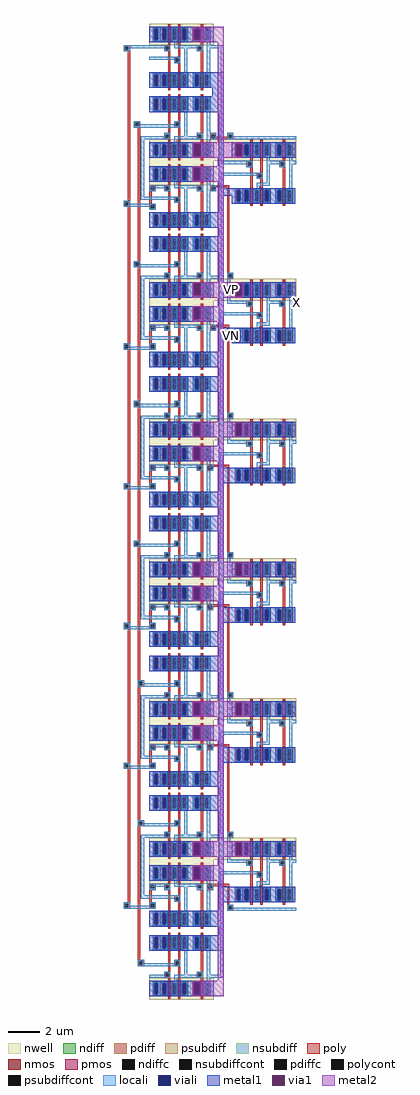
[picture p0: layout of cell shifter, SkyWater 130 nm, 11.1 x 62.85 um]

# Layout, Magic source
magic
tech sky130A
<< nwell >>
rect 495 310 505 330
rect 485 210 505 310
rect 495 190 505 210
rect 505 -440 1000 -415
rect 90 -555 1000 -440
rect 90 -575 505 -555
rect 485 -1420 1035 -1315
rect 370 -1430 1035 -1420
rect 90 -1455 1035 -1430
rect 90 -1475 505 -1455
rect 495 -2345 740 -2215
rect 90 -2355 740 -2345
rect 90 -2380 505 -2355
rect 500 -3235 735 -3115
rect 90 -3255 735 -3235
rect 90 -3290 505 -3255
rect 500 -4140 720 -4015
rect 90 -4155 720 -4140
rect 90 -4185 505 -4155
rect 495 -5045 735 -4915
rect 90 -5055 735 -5045
rect 90 -5090 505 -5055
<< nmos >>
rect 740 -1730 755 -1630
rect 805 -1730 820 -1630
rect 950 -1730 965 -1630
<< pmos >>
rect 740 -1435 755 -1335
rect 805 -1435 820 -1335
rect 950 -1435 965 -1335
<< ndiff >>
rect 690 -1645 740 -1630
rect 690 -1715 705 -1645
rect 725 -1715 740 -1645
rect 690 -1730 740 -1715
rect 755 -1645 805 -1630
rect 755 -1715 770 -1645
rect 790 -1715 805 -1645
rect 755 -1730 805 -1715
rect 820 -1645 870 -1630
rect 820 -1715 835 -1645
rect 855 -1715 870 -1645
rect 820 -1730 870 -1715
rect 900 -1645 950 -1630
rect 900 -1715 915 -1645
rect 935 -1715 950 -1645
rect 900 -1730 950 -1715
rect 965 -1645 1015 -1630
rect 965 -1715 980 -1645
rect 1000 -1715 1015 -1645
rect 965 -1730 1015 -1715
<< pdiff >>
rect 690 -1350 740 -1335
rect 690 -1420 705 -1350
rect 725 -1420 740 -1350
rect 690 -1435 740 -1420
rect 755 -1350 805 -1335
rect 755 -1420 770 -1350
rect 790 -1420 805 -1350
rect 755 -1435 805 -1420
rect 820 -1350 870 -1335
rect 820 -1420 835 -1350
rect 855 -1420 870 -1350
rect 820 -1435 870 -1420
rect 900 -1350 950 -1335
rect 900 -1420 915 -1350
rect 935 -1420 950 -1350
rect 900 -1435 950 -1420
rect 965 -1350 1015 -1335
rect 965 -1420 980 -1350
rect 1000 -1420 1015 -1350
rect 965 -1435 1015 -1420
<< ndiffc >>
rect 705 -1715 725 -1645
rect 770 -1715 790 -1645
rect 835 -1715 855 -1645
rect 915 -1715 935 -1645
rect 980 -1715 1000 -1645
<< pdiffc >>
rect 705 -1420 725 -1350
rect 770 -1420 790 -1350
rect 835 -1420 855 -1350
rect 915 -1420 935 -1350
rect 980 -1420 1000 -1350
<< psubdiff >>
rect 640 -1645 690 -1630
rect 640 -1715 655 -1645
rect 675 -1715 690 -1645
rect 640 -1730 690 -1715
<< nsubdiff >>
rect 640 -1350 690 -1335
rect 640 -1420 655 -1350
rect 675 -1420 690 -1350
rect 640 -1435 690 -1420
<< psubdiffcont >>
rect 655 -1715 675 -1645
<< nsubdiffcont >>
rect 655 -1420 675 -1350
<< poly >>
rect -75 180 -35 190
rect -75 160 -65 180
rect -45 160 -35 180
rect -75 150 -35 160
rect -50 -810 -35 150
rect -10 -310 30 -300
rect -10 -330 0 -310
rect 20 -330 30 -310
rect -10 -340 30 -330
rect -75 -820 -35 -810
rect -75 -840 -65 -820
rect -45 -840 -35 -820
rect -75 -850 -35 -840
rect -50 -1730 -35 -850
rect 15 -1200 30 -340
rect 480 -385 520 -375
rect 480 -405 490 -385
rect 510 -400 520 -385
rect 590 -385 630 -375
rect 590 -400 600 -385
rect 510 -405 600 -400
rect 620 -405 630 -385
rect 480 -415 630 -405
rect 90 -720 130 -710
rect 90 -740 100 -720
rect 120 -740 130 -720
rect 90 -750 130 -740
rect 480 -720 605 -710
rect 480 -740 490 -720
rect 510 -725 605 -720
rect 510 -740 520 -725
rect 480 -750 520 -740
rect 90 -830 105 -750
rect 90 -840 130 -830
rect 90 -860 100 -840
rect 120 -860 130 -840
rect 90 -870 130 -860
rect -10 -1210 30 -1200
rect -10 -1230 0 -1210
rect 20 -1230 30 -1210
rect -10 -1240 30 -1230
rect -75 -1740 -35 -1730
rect -75 -1760 -65 -1740
rect -45 -1760 -35 -1740
rect -75 -1770 -35 -1760
rect -50 -2630 -35 -1770
rect 15 -2100 30 -1240
rect 590 -1275 605 -725
rect 590 -1285 630 -1275
rect 590 -1305 600 -1285
rect 620 -1305 630 -1285
rect 590 -1315 630 -1305
rect 740 -1335 755 -1320
rect 805 -1335 820 -1320
rect 950 -1335 965 -1320
rect 740 -1455 755 -1435
rect 715 -1465 755 -1455
rect 715 -1485 725 -1465
rect 745 -1485 755 -1465
rect 715 -1495 755 -1485
rect 90 -1620 130 -1610
rect 90 -1640 100 -1620
rect 120 -1640 130 -1620
rect 90 -1650 130 -1640
rect 480 -1620 605 -1610
rect 480 -1640 490 -1620
rect 510 -1625 605 -1620
rect 510 -1640 520 -1625
rect 480 -1650 520 -1640
rect 90 -1730 105 -1650
rect 90 -1740 130 -1730
rect 90 -1760 100 -1740
rect 120 -1760 130 -1740
rect 90 -1770 130 -1760
rect -10 -2110 30 -2100
rect -10 -2130 0 -2110
rect 20 -2130 30 -2110
rect -10 -2140 30 -2130
rect -75 -2640 -35 -2630
rect -75 -2660 -65 -2640
rect -45 -2660 -35 -2640
rect -75 -2670 -35 -2660
rect -50 -3530 -35 -2670
rect 15 -3000 30 -2140
rect 590 -2175 605 -1625
rect 740 -1630 755 -1495
rect 805 -1530 820 -1435
rect 950 -1455 965 -1435
rect 925 -1465 965 -1455
rect 925 -1485 935 -1465
rect 955 -1485 965 -1465
rect 925 -1495 965 -1485
rect 780 -1540 820 -1530
rect 780 -1560 790 -1540
rect 810 -1560 820 -1540
rect 780 -1570 820 -1560
rect 805 -1630 820 -1570
rect 950 -1630 965 -1495
rect 740 -1745 755 -1730
rect 805 -1745 820 -1730
rect 950 -1745 965 -1730
rect 590 -2185 630 -2175
rect 590 -2205 600 -2185
rect 620 -2205 630 -2185
rect 590 -2215 630 -2205
rect 90 -2520 130 -2510
rect 90 -2540 100 -2520
rect 120 -2540 130 -2520
rect 90 -2550 130 -2540
rect 460 -2520 605 -2510
rect 460 -2540 470 -2520
rect 490 -2525 605 -2520
rect 490 -2540 500 -2525
rect 460 -2550 500 -2540
rect 90 -2630 105 -2550
rect 90 -2640 130 -2630
rect 90 -2660 100 -2640
rect 120 -2660 130 -2640
rect 90 -2670 130 -2660
rect -10 -3010 30 -3000
rect -10 -3030 0 -3010
rect 20 -3030 30 -3010
rect -10 -3040 30 -3030
rect -75 -3540 -35 -3530
rect -75 -3560 -65 -3540
rect -45 -3560 -35 -3540
rect -75 -3570 -35 -3560
rect -50 -4430 -35 -3570
rect -75 -4440 -35 -4430
rect -75 -4460 -65 -4440
rect -45 -4460 -35 -4440
rect -75 -4470 -35 -4460
rect -50 -5330 -35 -4470
rect -75 -5340 -35 -5330
rect -75 -5360 -65 -5340
rect -45 -5360 -35 -5340
rect -75 -5370 -35 -5360
rect 15 -3900 30 -3040
rect 590 -3075 605 -2525
rect 590 -3085 630 -3075
rect 590 -3105 600 -3085
rect 620 -3105 630 -3085
rect 590 -3115 630 -3105
rect 90 -3420 130 -3410
rect 90 -3440 100 -3420
rect 120 -3440 130 -3420
rect 90 -3450 130 -3440
rect 460 -3420 605 -3410
rect 460 -3440 470 -3420
rect 490 -3425 605 -3420
rect 490 -3440 500 -3425
rect 460 -3450 500 -3440
rect 90 -3530 105 -3450
rect 90 -3540 130 -3530
rect 90 -3560 100 -3540
rect 120 -3560 130 -3540
rect 90 -3570 130 -3560
rect 15 -3910 55 -3900
rect 15 -3930 25 -3910
rect 45 -3930 55 -3910
rect 15 -3940 55 -3930
rect 15 -4800 30 -3940
rect 590 -3975 605 -3425
rect 590 -3985 630 -3975
rect 590 -4005 600 -3985
rect 620 -4005 630 -3985
rect 590 -4015 630 -4005
rect 90 -4320 130 -4310
rect 90 -4340 100 -4320
rect 120 -4340 130 -4320
rect 90 -4350 130 -4340
rect 460 -4320 605 -4310
rect 460 -4340 470 -4320
rect 490 -4325 605 -4320
rect 490 -4340 500 -4325
rect 460 -4350 500 -4340
rect 90 -4430 105 -4350
rect 90 -4440 130 -4430
rect 90 -4460 100 -4440
rect 120 -4460 130 -4440
rect 90 -4470 130 -4460
rect 15 -4810 55 -4800
rect 15 -4830 25 -4810
rect 45 -4830 55 -4810
rect 15 -4840 55 -4830
rect 15 -5700 30 -4840
rect 590 -4875 605 -4325
rect 590 -4885 630 -4875
rect 590 -4905 600 -4885
rect 620 -4905 630 -4885
rect 590 -4915 630 -4905
rect 90 -5220 130 -5210
rect 90 -5240 100 -5220
rect 120 -5240 130 -5220
rect 90 -5250 130 -5240
rect 460 -5220 605 -5210
rect 460 -5240 470 -5220
rect 490 -5225 605 -5220
rect 490 -5240 500 -5225
rect 460 -5250 500 -5240
rect 90 -5330 105 -5250
rect 90 -5340 130 -5330
rect 90 -5360 100 -5340
rect 120 -5360 130 -5340
rect 90 -5370 130 -5360
rect 590 -5345 605 -5225
rect 590 -5355 630 -5345
rect 590 -5375 600 -5355
rect 620 -5375 630 -5355
rect 590 -5385 630 -5375
rect 15 -5710 55 -5700
rect 15 -5730 25 -5710
rect 45 -5730 55 -5710
rect 15 -5740 55 -5730
<< polycont >>
rect -65 160 -45 180
rect 0 -330 20 -310
rect -65 -840 -45 -820
rect 490 -405 510 -385
rect 600 -405 620 -385
rect 100 -740 120 -720
rect 490 -740 510 -720
rect 100 -860 120 -840
rect 0 -1230 20 -1210
rect -65 -1760 -45 -1740
rect 600 -1305 620 -1285
rect 725 -1485 745 -1465
rect 100 -1640 120 -1620
rect 490 -1640 510 -1620
rect 100 -1760 120 -1740
rect 0 -2130 20 -2110
rect -65 -2660 -45 -2640
rect 935 -1485 955 -1465
rect 790 -1560 810 -1540
rect 600 -2205 620 -2185
rect 100 -2540 120 -2520
rect 470 -2540 490 -2520
rect 100 -2660 120 -2640
rect 0 -3030 20 -3010
rect -65 -3560 -45 -3540
rect -65 -4460 -45 -4440
rect -65 -5360 -45 -5340
rect 600 -3105 620 -3085
rect 100 -3440 120 -3420
rect 470 -3440 490 -3420
rect 100 -3560 120 -3540
rect 25 -3930 45 -3910
rect 600 -4005 620 -3985
rect 100 -4340 120 -4320
rect 470 -4340 490 -4320
rect 100 -4460 120 -4440
rect 25 -4830 45 -4810
rect 600 -4905 620 -4885
rect 100 -5240 120 -5220
rect 470 -5240 490 -5220
rect 100 -5360 120 -5340
rect 600 -5375 620 -5355
rect 25 -5730 45 -5710
<< locali >>
rect -75 180 100 190
rect -75 160 -65 180
rect -45 170 100 180
rect 495 170 570 190
rect -45 160 -35 170
rect -75 150 -35 160
rect -10 -310 30 -300
rect -10 -330 0 -310
rect 20 -320 30 -310
rect 20 -330 110 -320
rect -10 -340 110 -330
rect 480 -385 520 -375
rect 35 -415 125 -395
rect 480 -405 490 -385
rect 510 -405 520 -385
rect 480 -415 520 -405
rect 35 -785 55 -415
rect 550 -555 570 170
rect 590 -385 630 -375
rect 590 -405 600 -385
rect 620 -395 630 -385
rect 620 -405 1035 -395
rect 590 -415 1035 -405
rect 550 -575 640 -555
rect 550 -650 625 -630
rect 630 -645 645 -630
rect 90 -720 130 -710
rect 90 -740 100 -720
rect 120 -740 130 -720
rect 90 -750 130 -740
rect 460 -720 520 -710
rect 460 -740 490 -720
rect 510 -740 520 -720
rect 460 -750 520 -740
rect 35 -805 125 -785
rect -75 -820 -35 -810
rect -75 -840 -65 -820
rect -45 -830 -35 -820
rect -45 -840 130 -830
rect -75 -850 100 -840
rect 90 -860 100 -850
rect 120 -860 130 -840
rect 90 -870 130 -860
rect -10 -1210 30 -1200
rect -10 -1230 0 -1210
rect 20 -1220 30 -1210
rect 20 -1230 115 -1220
rect -10 -1240 115 -1230
rect 550 -1295 570 -650
rect 35 -1315 110 -1295
rect 505 -1315 570 -1295
rect 590 -1285 630 -1275
rect 590 -1305 600 -1285
rect 620 -1305 630 -1285
rect 590 -1315 630 -1305
rect 35 -1685 55 -1315
rect 590 -1455 610 -1315
rect 645 -1350 735 -1340
rect 645 -1420 655 -1350
rect 675 -1420 705 -1350
rect 725 -1420 735 -1350
rect 645 -1430 735 -1420
rect 760 -1350 800 -1340
rect 760 -1420 770 -1350
rect 790 -1420 800 -1350
rect 760 -1430 800 -1420
rect 825 -1350 865 -1340
rect 825 -1420 835 -1350
rect 855 -1420 865 -1350
rect 825 -1430 865 -1420
rect 905 -1350 945 -1340
rect 905 -1420 915 -1350
rect 935 -1420 945 -1350
rect 905 -1430 945 -1420
rect 970 -1350 1010 -1340
rect 970 -1420 980 -1350
rect 1000 -1420 1010 -1350
rect 970 -1430 1010 -1420
rect 845 -1455 865 -1430
rect 990 -1455 1010 -1430
rect 590 -1465 755 -1455
rect 590 -1475 725 -1465
rect 715 -1485 725 -1475
rect 745 -1485 755 -1465
rect 715 -1495 755 -1485
rect 845 -1465 965 -1455
rect 845 -1475 935 -1465
rect 545 -1540 820 -1530
rect 545 -1550 790 -1540
rect 90 -1620 130 -1610
rect 90 -1640 100 -1620
rect 120 -1640 130 -1620
rect 90 -1650 130 -1640
rect 480 -1620 520 -1610
rect 480 -1640 490 -1620
rect 510 -1640 520 -1620
rect 480 -1650 520 -1640
rect 35 -1705 100 -1685
rect -75 -1740 -35 -1730
rect -75 -1760 -65 -1740
rect -45 -1750 -35 -1740
rect 90 -1740 130 -1730
rect 90 -1750 100 -1740
rect -45 -1760 100 -1750
rect 120 -1760 130 -1740
rect -75 -1770 130 -1760
rect -10 -2110 30 -2100
rect -10 -2130 0 -2110
rect 20 -2120 30 -2110
rect 20 -2130 160 -2120
rect -10 -2140 160 -2130
rect 545 -2195 565 -1550
rect 780 -1560 790 -1550
rect 810 -1560 820 -1540
rect 780 -1570 820 -1560
rect 845 -1595 865 -1475
rect 925 -1485 935 -1475
rect 955 -1485 965 -1465
rect 925 -1495 965 -1485
rect 990 -1475 1035 -1455
rect 780 -1615 865 -1595
rect 780 -1635 800 -1615
rect 925 -1635 945 -1630
rect 990 -1635 1010 -1475
rect 645 -1645 735 -1635
rect 645 -1715 655 -1645
rect 675 -1715 705 -1645
rect 725 -1715 735 -1645
rect 645 -1725 735 -1715
rect 760 -1645 800 -1635
rect 760 -1715 770 -1645
rect 790 -1715 800 -1645
rect 760 -1725 800 -1715
rect 825 -1645 865 -1635
rect 825 -1715 835 -1645
rect 855 -1715 865 -1645
rect 825 -1725 865 -1715
rect 905 -1645 945 -1635
rect 905 -1715 915 -1645
rect 935 -1715 945 -1645
rect 905 -1725 945 -1715
rect 970 -1645 1010 -1635
rect 970 -1715 980 -1645
rect 1000 -1715 1010 -1645
rect 970 -1725 1010 -1715
rect 35 -2215 120 -2195
rect 505 -2215 565 -2195
rect 590 -2185 630 -2175
rect 590 -2205 600 -2185
rect 620 -2205 630 -2185
rect 590 -2215 630 -2205
rect 35 -2585 55 -2215
rect 590 -2355 610 -2215
rect 590 -2375 635 -2355
rect 545 -2450 645 -2430
rect 90 -2520 130 -2510
rect 90 -2540 100 -2520
rect 120 -2540 130 -2520
rect 90 -2550 130 -2540
rect 460 -2520 500 -2510
rect 460 -2540 470 -2520
rect 490 -2540 500 -2520
rect 460 -2550 500 -2540
rect 35 -2605 120 -2585
rect -75 -2640 -35 -2630
rect -75 -2660 -65 -2640
rect -45 -2650 -35 -2640
rect 90 -2640 130 -2630
rect 90 -2650 100 -2640
rect -45 -2660 100 -2650
rect 120 -2660 130 -2640
rect -75 -2670 130 -2660
rect -10 -3010 30 -3000
rect -10 -3030 0 -3010
rect 20 -3020 30 -3010
rect 20 -3030 180 -3020
rect -10 -3040 180 -3030
rect 545 -3095 565 -2450
rect 35 -3115 115 -3095
rect 505 -3115 565 -3095
rect 590 -3085 630 -3075
rect 590 -3105 600 -3085
rect 620 -3105 630 -3085
rect 590 -3115 630 -3105
rect 35 -3485 55 -3115
rect 590 -3255 610 -3115
rect 590 -3275 630 -3255
rect 545 -3350 625 -3330
rect 90 -3420 130 -3410
rect 90 -3440 100 -3420
rect 120 -3440 130 -3420
rect 90 -3450 130 -3440
rect 460 -3420 500 -3410
rect 460 -3440 470 -3420
rect 490 -3440 500 -3420
rect 460 -3450 500 -3440
rect 35 -3505 110 -3485
rect -75 -3540 -35 -3530
rect -75 -3560 -65 -3540
rect -45 -3550 -35 -3540
rect 90 -3540 130 -3530
rect 90 -3550 100 -3540
rect -45 -3560 100 -3550
rect 120 -3560 130 -3540
rect -75 -3570 130 -3560
rect 15 -3910 55 -3900
rect 15 -3930 25 -3910
rect 45 -3920 55 -3910
rect 45 -3930 170 -3920
rect 15 -3940 170 -3930
rect 545 -3995 565 -3350
rect 35 -4015 120 -3995
rect 500 -4015 565 -3995
rect 590 -3985 630 -3975
rect 590 -4005 600 -3985
rect 620 -4005 630 -3985
rect 590 -4015 630 -4005
rect 35 -4385 55 -4015
rect 590 -4155 610 -4015
rect 590 -4175 630 -4155
rect 545 -4250 625 -4230
rect 90 -4320 130 -4310
rect 90 -4340 100 -4320
rect 120 -4340 130 -4320
rect 90 -4350 130 -4340
rect 460 -4320 500 -4310
rect 460 -4340 470 -4320
rect 490 -4340 500 -4320
rect 460 -4350 500 -4340
rect 35 -4405 115 -4385
rect -75 -4440 -35 -4430
rect -75 -4460 -65 -4440
rect -45 -4450 -35 -4440
rect 90 -4440 130 -4430
rect 90 -4450 100 -4440
rect -45 -4460 100 -4450
rect 120 -4460 130 -4440
rect -75 -4470 130 -4460
rect 15 -4810 55 -4800
rect 15 -4830 25 -4810
rect 45 -4820 55 -4810
rect 45 -4830 175 -4820
rect 15 -4840 175 -4830
rect 545 -4895 565 -4250
rect 35 -4915 115 -4895
rect 505 -4915 565 -4895
rect 590 -4885 630 -4875
rect 590 -4905 600 -4885
rect 620 -4905 630 -4885
rect 590 -4915 630 -4905
rect 35 -5285 55 -4915
rect 590 -5055 610 -4915
rect 590 -5075 635 -5055
rect 545 -5150 635 -5130
rect 90 -5220 130 -5210
rect 90 -5240 100 -5220
rect 120 -5240 130 -5220
rect 90 -5250 130 -5240
rect 460 -5220 500 -5210
rect 460 -5240 470 -5220
rect 490 -5240 500 -5220
rect 460 -5250 500 -5240
rect 35 -5305 110 -5285
rect -75 -5340 -35 -5330
rect -75 -5360 -65 -5340
rect -45 -5350 -35 -5340
rect 90 -5340 130 -5330
rect 90 -5350 100 -5340
rect -45 -5360 100 -5350
rect 120 -5360 130 -5340
rect -75 -5370 130 -5360
rect 15 -5710 55 -5700
rect 15 -5730 25 -5710
rect 45 -5720 55 -5710
rect 45 -5730 170 -5720
rect 15 -5740 170 -5730
rect 545 -5795 565 -5150
rect 590 -5355 630 -5345
rect 590 -5375 600 -5355
rect 620 -5365 630 -5355
rect 620 -5375 1035 -5365
rect 590 -5385 1035 -5375
rect 495 -5815 565 -5795
<< viali >>
rect 655 -1420 675 -1350
rect 705 -1420 725 -1350
rect 915 -1420 935 -1350
rect 655 -1715 675 -1645
rect 705 -1715 725 -1645
rect 835 -1715 855 -1645
rect 915 -1715 935 -1645
<< metal1 >>
rect 500 -65 570 15
rect 495 -235 570 -65
rect 505 -240 570 -235
rect 535 -730 570 -240
rect 535 -780 620 -730
rect 535 -885 570 -780
rect 500 -980 570 -885
rect 505 -985 570 -980
rect 535 -1040 570 -985
rect 500 -1130 570 -1040
rect 505 -1140 570 -1130
rect 535 -1630 570 -1140
rect 620 -1345 1030 -1335
rect 620 -1425 645 -1345
rect 685 -1350 1030 -1345
rect 685 -1420 705 -1350
rect 725 -1420 915 -1350
rect 935 -1420 1030 -1350
rect 685 -1425 1030 -1420
rect 620 -1435 1030 -1425
rect 535 -1645 1030 -1630
rect 535 -1680 655 -1645
rect 535 -1785 570 -1680
rect 620 -1715 655 -1680
rect 675 -1715 705 -1645
rect 725 -1715 835 -1645
rect 855 -1715 915 -1645
rect 935 -1715 1030 -1645
rect 620 -1730 1030 -1715
rect 505 -1885 570 -1785
rect 535 -1940 570 -1885
rect 495 -2040 570 -1940
rect 535 -2530 570 -2040
rect 535 -2630 635 -2530
rect 535 -2685 570 -2630
rect 495 -2785 570 -2685
rect 535 -2840 570 -2785
rect 490 -2940 570 -2840
rect 535 -3430 570 -2940
rect 535 -3530 635 -3430
rect 535 -3585 570 -3530
rect 495 -3685 570 -3585
rect 535 -3740 570 -3685
rect 495 -3840 570 -3740
rect 535 -4330 570 -3840
rect 535 -4430 635 -4330
rect 535 -4485 570 -4430
rect 490 -4585 570 -4485
rect 535 -4640 570 -4585
rect 495 -4740 570 -4640
rect 535 -5230 570 -4740
rect 535 -5330 635 -5230
rect 535 -5385 570 -5330
rect 495 -5485 570 -5385
rect 535 -5540 570 -5485
rect 490 -5640 570 -5540
<< via1 >>
rect 380 225 415 295
rect 375 -525 420 -445
rect 375 -680 415 -600
rect 645 -525 685 -445
rect 375 -1420 420 -1340
rect 375 -1575 415 -1495
rect 645 -1350 685 -1345
rect 645 -1420 655 -1350
rect 655 -1420 675 -1350
rect 675 -1420 685 -1350
rect 645 -1425 685 -1420
rect 375 -2325 415 -2245
rect 375 -2480 415 -2400
rect 645 -2325 685 -2245
rect 375 -3225 415 -3145
rect 375 -3380 415 -3300
rect 645 -3225 685 -3145
rect 375 -4125 415 -4045
rect 375 -4280 415 -4200
rect 645 -4125 685 -4045
rect 375 -5025 415 -4945
rect 375 -5180 415 -5100
rect 645 -5025 685 -4945
rect 375 -5925 415 -5845
<< metal2 >>
rect 370 295 570 310
rect 370 225 380 295
rect 415 225 570 295
rect 370 210 570 225
rect 530 -435 570 210
rect 370 -445 690 -435
rect 370 -525 375 -445
rect 420 -525 645 -445
rect 685 -525 690 -445
rect 370 -535 690 -525
rect 530 -590 570 -535
rect 370 -600 570 -590
rect 370 -680 375 -600
rect 415 -680 570 -600
rect 370 -690 570 -680
rect 530 -1335 570 -690
rect 370 -1340 690 -1335
rect 370 -1420 375 -1340
rect 420 -1345 690 -1340
rect 420 -1420 645 -1345
rect 370 -1425 645 -1420
rect 685 -1425 690 -1345
rect 370 -1435 690 -1425
rect 530 -1490 570 -1435
rect 370 -1495 570 -1490
rect 370 -1575 375 -1495
rect 415 -1575 570 -1495
rect 370 -1590 570 -1575
rect 530 -2235 570 -1590
rect 370 -2245 740 -2235
rect 370 -2325 375 -2245
rect 415 -2325 645 -2245
rect 685 -2325 740 -2245
rect 370 -2335 740 -2325
rect 530 -2390 570 -2335
rect 370 -2400 570 -2390
rect 370 -2480 375 -2400
rect 415 -2480 570 -2400
rect 370 -2490 570 -2480
rect 530 -3135 570 -2490
rect 370 -3145 740 -3135
rect 370 -3225 375 -3145
rect 415 -3225 645 -3145
rect 685 -3225 740 -3145
rect 370 -3235 740 -3225
rect 530 -3290 570 -3235
rect 370 -3300 570 -3290
rect 370 -3380 375 -3300
rect 415 -3380 570 -3300
rect 370 -3390 570 -3380
rect 530 -4035 570 -3390
rect 370 -4045 740 -4035
rect 370 -4125 375 -4045
rect 415 -4125 645 -4045
rect 685 -4125 740 -4045
rect 370 -4135 740 -4125
rect 530 -4190 570 -4135
rect 370 -4200 570 -4190
rect 370 -4280 375 -4200
rect 415 -4280 570 -4200
rect 370 -4290 570 -4280
rect 530 -4935 570 -4290
rect 370 -4945 740 -4935
rect 370 -5025 375 -4945
rect 415 -5025 645 -4945
rect 685 -5025 740 -4945
rect 370 -5035 740 -5025
rect 530 -5090 570 -5035
rect 370 -5100 570 -5090
rect 370 -5180 375 -5100
rect 415 -5180 570 -5100
rect 370 -5190 570 -5180
rect 530 -5835 570 -5190
rect 370 -5845 570 -5835
rect 370 -5925 375 -5845
rect 415 -5925 570 -5845
rect 370 -5935 570 -5925
use and  and_0
transform 1 0 210 0 1 215
box -120 -315 295 115
use and  and_1
transform 1 0 210 0 -1 -440
box -120 -315 295 115
use and  and_2
transform 1 0 210 0 1 -685
box -120 -315 295 115
use and  and_3
transform 1 0 210 0 -1 -1340
box -120 -315 295 115
use and  and_4
transform 1 0 210 0 1 -1585
box -120 -315 295 115
use and  and_5
transform 1 0 210 0 -1 -2240
box -120 -315 295 115
use and  and_6
transform 1 0 210 0 1 -2485
box -120 -315 295 115
use and  and_7
transform 1 0 210 0 -1 -3140
box -120 -315 295 115
use and  and_8
transform 1 0 210 0 1 -3385
box -120 -315 295 115
use and  and_9
transform 1 0 210 0 -1 -4040
box -120 -315 295 115
use and  and_10
transform 1 0 210 0 1 -4285
box -120 -315 295 115
use and  and_11
transform 1 0 210 0 -1 -4940
box -120 -315 295 115
use and  and_12
transform 1 0 210 0 1 -5185
box -120 -315 295 115
use and  and_13
transform 1 0 210 0 -1 -5840
box -120 -315 295 115
use or  or_0
transform 1 0 740 0 1 -530
box -120 -315 295 115
use or  or_1
transform 1 0 740 0 1 -2330
box -120 -315 295 115
use or  or_2
transform 1 0 740 0 1 -3230
box -120 -315 295 115
use or  or_3
transform 1 0 740 0 1 -4130
box -120 -315 295 115
use or  or_4
transform 1 0 740 0 1 -5030
box -120 -315 295 115
<< labels >>
rlabel metal1 620 -1680 620 -1680 7 VN
port 5 w
rlabel metal1 620 -1385 620 -1385 7 VP
port 4 w
rlabel locali 1035 -1465 1035 -1465 3 X
port 3 e
<< end >>

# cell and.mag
magic
tech sky130A
<< nwell >>
rect -120 -25 295 115
<< nmos >>
rect 0 -300 15 -200
rect 65 -300 80 -200
rect 210 -300 225 -200
<< pmos >>
rect 0 -5 15 95
rect 65 -5 80 95
rect 210 -5 225 95
<< ndiff >>
rect -50 -215 0 -200
rect -50 -285 -35 -215
rect -15 -285 0 -215
rect -50 -300 0 -285
rect 15 -215 65 -200
rect 15 -285 30 -215
rect 50 -285 65 -215
rect 15 -300 65 -285
rect 80 -215 130 -200
rect 80 -285 95 -215
rect 115 -285 130 -215
rect 80 -300 130 -285
rect 160 -215 210 -200
rect 160 -285 175 -215
rect 195 -285 210 -215
rect 160 -300 210 -285
rect 225 -215 275 -200
rect 225 -285 240 -215
rect 260 -285 275 -215
rect 225 -300 275 -285
<< pdiff >>
rect -50 80 0 95
rect -50 10 -35 80
rect -15 10 0 80
rect -50 -5 0 10
rect 15 80 65 95
rect 15 10 30 80
rect 50 10 65 80
rect 15 -5 65 10
rect 80 80 130 95
rect 80 10 95 80
rect 115 10 130 80
rect 80 -5 130 10
rect 160 80 210 95
rect 160 10 175 80
rect 195 10 210 80
rect 160 -5 210 10
rect 225 80 275 95
rect 225 10 240 80
rect 260 10 275 80
rect 225 -5 275 10
<< ndiffc >>
rect -35 -285 -15 -215
rect 30 -285 50 -215
rect 95 -285 115 -215
rect 175 -285 195 -215
rect 240 -285 260 -215
<< pdiffc >>
rect -35 10 -15 80
rect 30 10 50 80
rect 95 10 115 80
rect 175 10 195 80
rect 240 10 260 80
<< psubdiff >>
rect -100 -215 -50 -200
rect -100 -285 -85 -215
rect -65 -285 -50 -215
rect -100 -300 -50 -285
<< nsubdiff >>
rect -100 80 -50 95
rect -100 10 -85 80
rect -65 10 -50 80
rect -100 -5 -50 10
<< psubdiffcont >>
rect -85 -285 -65 -215
<< nsubdiffcont >>
rect -85 10 -65 80
<< poly >>
rect 0 95 15 110
rect 65 95 80 110
rect 210 95 225 110
rect 0 -25 15 -5
rect -25 -35 15 -25
rect -25 -55 -15 -35
rect 5 -55 15 -35
rect -25 -65 15 -55
rect 0 -200 15 -65
rect 65 -100 80 -5
rect 210 -25 225 -5
rect 185 -35 225 -25
rect 185 -55 195 -35
rect 215 -55 225 -35
rect 185 -65 225 -55
rect 40 -110 80 -100
rect 40 -130 50 -110
rect 70 -130 80 -110
rect 40 -140 80 -130
rect 65 -200 80 -140
rect 210 -200 225 -65
rect 0 -315 15 -300
rect 65 -315 80 -300
rect 210 -315 225 -300
<< polycont >>
rect -15 -55 5 -35
rect 195 -55 215 -35
rect 50 -130 70 -110
<< locali >>
rect -95 80 -5 90
rect -95 10 -85 80
rect -65 10 -35 80
rect -15 10 -5 80
rect -95 0 -5 10
rect 20 80 60 90
rect 20 10 30 80
rect 50 10 60 80
rect 20 0 60 10
rect 85 80 125 90
rect 85 10 95 80
rect 115 10 125 80
rect 85 0 125 10
rect 160 80 205 90
rect 160 10 175 80
rect 195 10 205 80
rect 160 0 205 10
rect 230 80 270 90
rect 230 10 240 80
rect 260 10 270 80
rect 230 0 270 10
rect 40 -25 60 0
rect 250 -25 270 0
rect -120 -35 15 -25
rect -120 -45 -15 -35
rect -25 -55 -15 -45
rect 5 -55 15 -35
rect 40 -35 225 -25
rect 40 -45 195 -35
rect -25 -65 15 -55
rect -120 -110 80 -100
rect -120 -120 50 -110
rect 40 -130 50 -120
rect 70 -130 80 -110
rect 40 -140 80 -130
rect 105 -205 125 -45
rect 185 -55 195 -45
rect 215 -55 225 -35
rect 185 -65 225 -55
rect 250 -45 295 -25
rect 250 -205 270 -45
rect -95 -215 -5 -205
rect -95 -285 -85 -215
rect -65 -285 -35 -215
rect -15 -285 -5 -215
rect -95 -295 -5 -285
rect 20 -215 60 -205
rect 20 -285 30 -215
rect 50 -285 60 -215
rect 20 -295 60 -285
rect 85 -215 125 -205
rect 85 -285 95 -215
rect 115 -285 125 -215
rect 85 -295 125 -285
rect 160 -215 205 -205
rect 160 -285 175 -215
rect 195 -285 205 -215
rect 160 -295 205 -285
rect 230 -215 270 -205
rect 230 -285 240 -215
rect 260 -285 270 -215
rect 230 -295 270 -285
<< viali >>
rect -85 10 -65 80
rect -35 10 -15 80
rect 95 10 115 80
rect 175 10 195 80
rect -85 -285 -65 -215
rect -35 -285 -15 -215
rect 175 -285 195 -215
<< metal1 >>
rect -120 80 295 95
rect -120 10 -85 80
rect -65 10 -35 80
rect -15 10 95 80
rect 115 10 175 80
rect 195 10 295 80
rect -120 -5 295 10
rect -120 -215 295 -200
rect -120 -285 -85 -215
rect -65 -285 -35 -215
rect -15 -285 175 -215
rect 195 -285 295 -215
rect -120 -300 295 -285
<< labels >>
rlabel locali -120 -35 -120 -35 7 A
port 1 w
rlabel locali -120 -110 -120 -110 7 B
port 2 w
rlabel metal1 -120 -250 -120 -250 7 VN
port 5 w
rlabel metal1 -120 45 -120 45 7 VP
port 4 w
rlabel locali 295 -35 295 -35 3 X
port 3 e
<< end >>

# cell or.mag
magic
tech sky130A
<< nwell >>
rect -120 -25 295 115
<< nmos >>
rect 0 -300 15 -200
rect 65 -300 80 -200
rect 210 -300 225 -200
<< pmos >>
rect 0 -5 15 95
rect 65 -5 80 95
rect 210 -5 225 95
<< ndiff >>
rect -50 -215 0 -200
rect -50 -285 -35 -215
rect -15 -285 0 -215
rect -50 -300 0 -285
rect 15 -215 65 -200
rect 15 -285 30 -215
rect 50 -285 65 -215
rect 15 -300 65 -285
rect 80 -215 130 -200
rect 80 -285 95 -215
rect 115 -285 130 -215
rect 80 -300 130 -285
rect 160 -215 210 -200
rect 160 -285 175 -215
rect 195 -285 210 -215
rect 160 -300 210 -285
rect 225 -215 275 -200
rect 225 -285 240 -215
rect 260 -285 275 -215
rect 225 -300 275 -285
<< pdiff >>
rect -50 80 0 95
rect -50 10 -35 80
rect -15 10 0 80
rect -50 -5 0 10
rect 15 80 65 95
rect 15 10 30 80
rect 50 10 65 80
rect 15 -5 65 10
rect 80 80 130 95
rect 80 10 95 80
rect 115 10 130 80
rect 80 -5 130 10
rect 160 80 210 95
rect 160 10 175 80
rect 195 10 210 80
rect 160 -5 210 10
rect 225 80 275 95
rect 225 10 240 80
rect 260 10 275 80
rect 225 -5 275 10
<< ndiffc >>
rect -35 -285 -15 -215
rect 30 -285 50 -215
rect 95 -285 115 -215
rect 175 -285 195 -215
rect 240 -285 260 -215
<< pdiffc >>
rect -35 10 -15 80
rect 30 10 50 80
rect 95 10 115 80
rect 175 10 195 80
rect 240 10 260 80
<< psubdiff >>
rect -100 -215 -50 -200
rect -100 -285 -85 -215
rect -65 -285 -50 -215
rect -100 -300 -50 -285
<< nsubdiff >>
rect -100 80 -50 95
rect -100 10 -85 80
rect -65 10 -50 80
rect -100 -5 -50 10
<< psubdiffcont >>
rect -85 -285 -65 -215
<< nsubdiffcont >>
rect -85 10 -65 80
<< poly >>
rect 0 95 15 110
rect 65 95 80 110
rect 210 95 225 110
rect 0 -25 15 -5
rect -25 -35 15 -25
rect -25 -55 -15 -35
rect 5 -55 15 -35
rect -25 -65 15 -55
rect 0 -200 15 -65
rect 65 -100 80 -5
rect 210 -25 225 -5
rect 185 -35 225 -25
rect 185 -55 195 -35
rect 215 -55 225 -35
rect 185 -65 225 -55
rect 40 -110 80 -100
rect 40 -130 50 -110
rect 70 -130 80 -110
rect 40 -140 80 -130
rect 65 -200 80 -140
rect 210 -200 225 -65
rect 0 -315 15 -300
rect 65 -315 80 -300
rect 210 -315 225 -300
<< polycont >>
rect -15 -55 5 -35
rect 195 -55 215 -35
rect 50 -130 70 -110
<< locali >>
rect -95 80 -5 90
rect -95 10 -85 80
rect -65 10 -35 80
rect -15 10 -5 80
rect -95 0 -5 10
rect 20 80 60 90
rect 20 10 30 80
rect 50 10 60 80
rect 20 0 60 10
rect 85 80 125 90
rect 85 10 95 80
rect 115 10 125 80
rect 85 0 125 10
rect 165 80 205 90
rect 165 10 175 80
rect 195 10 205 80
rect 165 0 205 10
rect 230 80 270 90
rect 230 10 240 80
rect 260 10 270 80
rect 230 0 270 10
rect 105 -25 125 0
rect 250 -25 270 0
rect -120 -35 15 -25
rect -120 -45 -15 -35
rect -25 -55 -15 -45
rect 5 -55 15 -35
rect -25 -65 15 -55
rect 105 -35 225 -25
rect 105 -45 195 -35
rect -120 -110 80 -100
rect -120 -120 50 -110
rect 40 -130 50 -120
rect 70 -130 80 -110
rect 40 -140 80 -130
rect 105 -165 125 -45
rect 185 -55 195 -45
rect 215 -55 225 -35
rect 185 -65 225 -55
rect 250 -45 295 -25
rect 40 -185 125 -165
rect 40 -205 60 -185
rect 185 -205 205 -200
rect 250 -205 270 -45
rect -95 -215 -5 -205
rect -95 -285 -85 -215
rect -65 -285 -35 -215
rect -15 -285 -5 -215
rect -95 -295 -5 -285
rect 20 -215 60 -205
rect 20 -285 30 -215
rect 50 -285 60 -215
rect 20 -295 60 -285
rect 85 -215 125 -205
rect 85 -285 95 -215
rect 115 -285 125 -215
rect 85 -295 125 -285
rect 165 -215 205 -205
rect 165 -285 175 -215
rect 195 -285 205 -215
rect 165 -295 205 -285
rect 230 -215 270 -205
rect 230 -285 240 -215
rect 260 -285 270 -215
rect 230 -295 270 -285
<< viali >>
rect -85 10 -65 80
rect -35 10 -15 80
rect 175 10 195 80
rect -85 -285 -65 -215
rect -35 -285 -15 -215
rect 95 -285 115 -215
rect 175 -285 195 -215
<< metal1 >>
rect -120 80 290 95
rect -120 10 -85 80
rect -65 10 -35 80
rect -15 10 175 80
rect 195 10 290 80
rect -120 -5 290 10
rect -120 -215 290 -200
rect -120 -285 -85 -215
rect -65 -285 -35 -215
rect -15 -285 95 -215
rect 115 -285 175 -215
rect 195 -285 290 -215
rect -120 -300 290 -285
<< labels >>
rlabel locali -120 -35 -120 -35 7 A
port 1 w
rlabel locali -120 -110 -120 -110 7 B
port 2 w
rlabel metal1 -120 -250 -120 -250 7 VN
port 5 w
rlabel metal1 -120 45 -120 45 7 VP
port 4 w
rlabel locali 295 -35 295 -35 3 X
port 3 e
<< end >>
